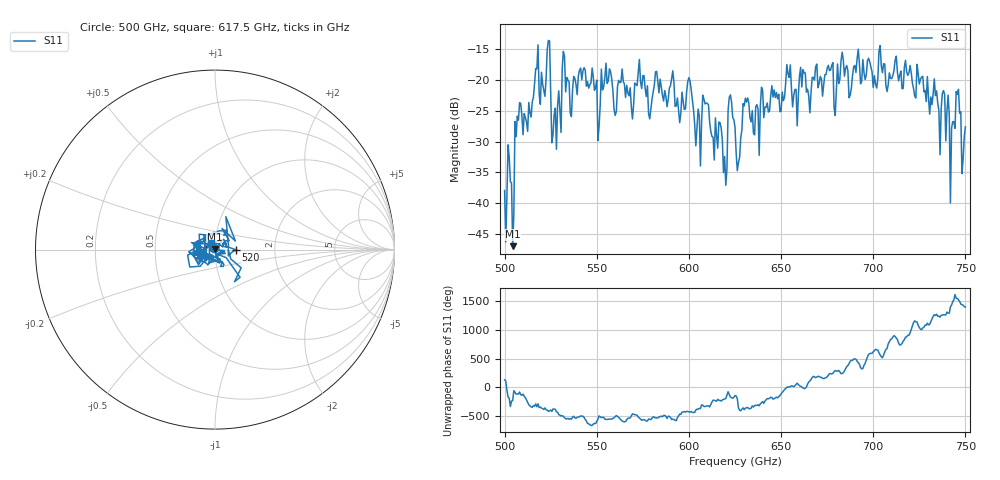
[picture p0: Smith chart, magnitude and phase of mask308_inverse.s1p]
!Created with skrf (http://scikit-rf.org).
# GHz S MA R 50.0
!freq magS11 angS11
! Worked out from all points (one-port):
!   401 points, 500 GHz to 750 GHz, reference 50 ohm
!   lowest |S11| = -47.0 dB at 504.4 GHz (marker M1), VSWR 1.01, Z = 49.7 + j0.35 ohm
!   |S11| at or under -10 dB: start of sweep to end of sweep
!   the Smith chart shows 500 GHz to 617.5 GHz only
!   S11 on the Smith chart (normalised r, x): 500 GHz: 0.98, +0.02; 520 GHz: 1.26, -0.00; 617.5 GHz: 0.96, +0.07
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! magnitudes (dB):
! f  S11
! 500 GHz  -37.9
! 504.4 GHz  -47.0
! 506.9 GHz  -25.9
! 520 GHz  -18.7
! 523.8 GHz  -13.6
! 526.9 GHz  -25.6
! 531.2 GHz  -18.1
! 542.5 GHz  -18.5
! 550.6 GHz  -29.8
! 562.5 GHz  -20.4
! 579.4 GHz  -24.7
! 590.6 GHz  -19.8
! 593.8 GHz  -22.9
! 600 GHz  -19.6
! 605 GHz  -24.7
! 608.8 GHz  -23.9
! 617.5 GHz  -27.8
! 619.4 GHz  -32.4
! 622.5 GHz  -22.4
! 625 GHz  -27.6
! 626.9 GHz  -33.4
! 630.6 GHz  -22.9
! 656.2 GHz  -24.4
! 687.5 GHz  -22.5
! 718.8 GHz  -19.2
! 743.1 GHz  -26.7
! 746.2 GHz  -21.5
! 750 GHz  -27.6
